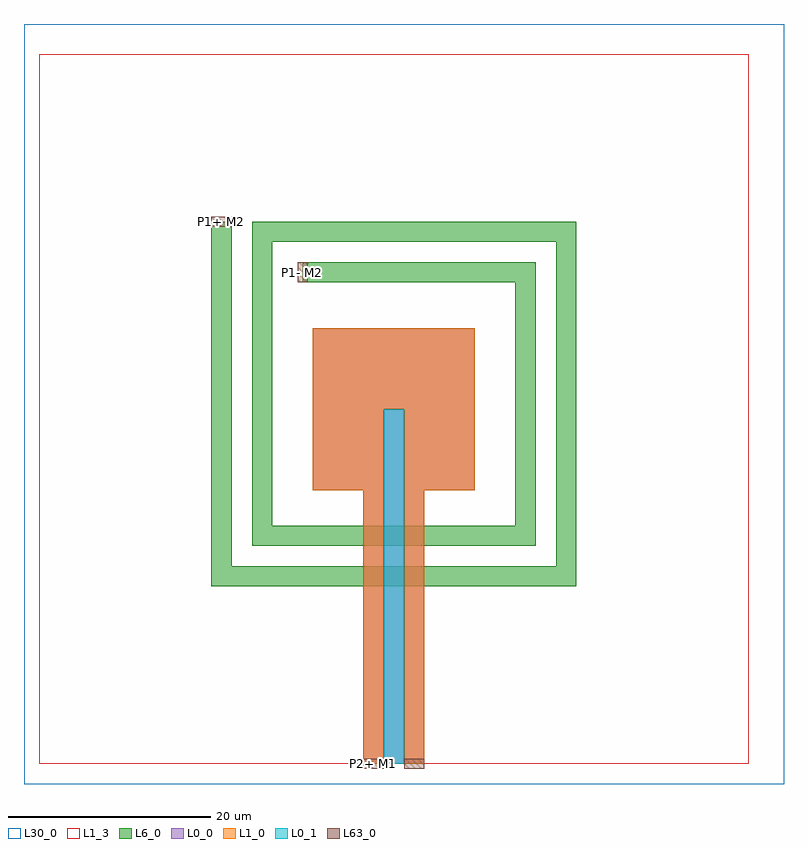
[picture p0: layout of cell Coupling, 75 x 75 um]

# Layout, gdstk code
import gdstk
lib = gdstk.Library(unit=1e-6, precision=1e-09)
def R(c, l, rs):  # rectangles x0, y0, x1, y1
    for r in rs: c.add(gdstk.rectangle(r[:2], r[2:], *l))
def P(c, l, *ps):  # polygons
    for p in ps: c.add(gdstk.Polygon(p, *l))
L0_0 = (0, 0)
L0_1 = (0, 1)
L1_0 = (1, 0)
L1_3 = (1, 3)
L6_0 = (6, 0)
L30_0 = (30, 0)
L63_0 = (63, 0)

squarespiral_1 = lib.new_cell('SquareSpiral$1')
squarespiral_1.add(gdstk.FlexPath([(-10,13),(12,13),(12,-13),(-14,-13),(-14,17),(16,17),(16,-17),(-18,-17),(-18,18)], 2, ends="flush", simple_path=True, layer=6, datatype=0))  # L6_0

washer = lib.new_cell('washer')
R(washer, L0_0, [(-8,-8,8,8)])
P(washer, L1_0, [(-3,-35),(-3,-8),(-8,-8),(-8,8),(8,8),(8,-8),(3,-8),(3,-35),(1,-35),(1,0),(-1,0),(-1,-35)])
R(washer, L1_3, [(-35,-35,35,35)])
washer.add(gdstk.FlexPath([(0,0),(0,-35)], 6, ends="flush", simple_path=True, layer=0, datatype=0))  # L0_0
washer.add(gdstk.FlexPath([(0,0),(0,-35)], 2, ends="flush", simple_path=True, layer=0, datatype=1))  # L0_1

coupling = lib.new_cell('Coupling')
R(coupling, L30_0, [(-37.5,-37.5,37.5,37.5)])
R(coupling, L63_0, [(-4,-36,-2,-35), (0,-36,2,-35), (-10.5,12,-9.5,14), (-19,17.5,-17,18.5)])
coupling.add(gdstk.Reference(squarespiral_1, (0,0)))
coupling.add(gdstk.Reference(washer, (-1,-0.5)))
coupling.add(gdstk.Label('P1+ M2', (-18,18), layer=64, texttype=0))
coupling.add(gdstk.Label('P1- M2', (-10,13), layer=64, texttype=0))
coupling.add(gdstk.Label('P2+ M1', (-3,-35.5), layer=64, texttype=0))
coupling.add(gdstk.Label('P2- M1', (1,-35.5), layer=64, texttype=0))

lib.write_gds('Coupling.gds')
